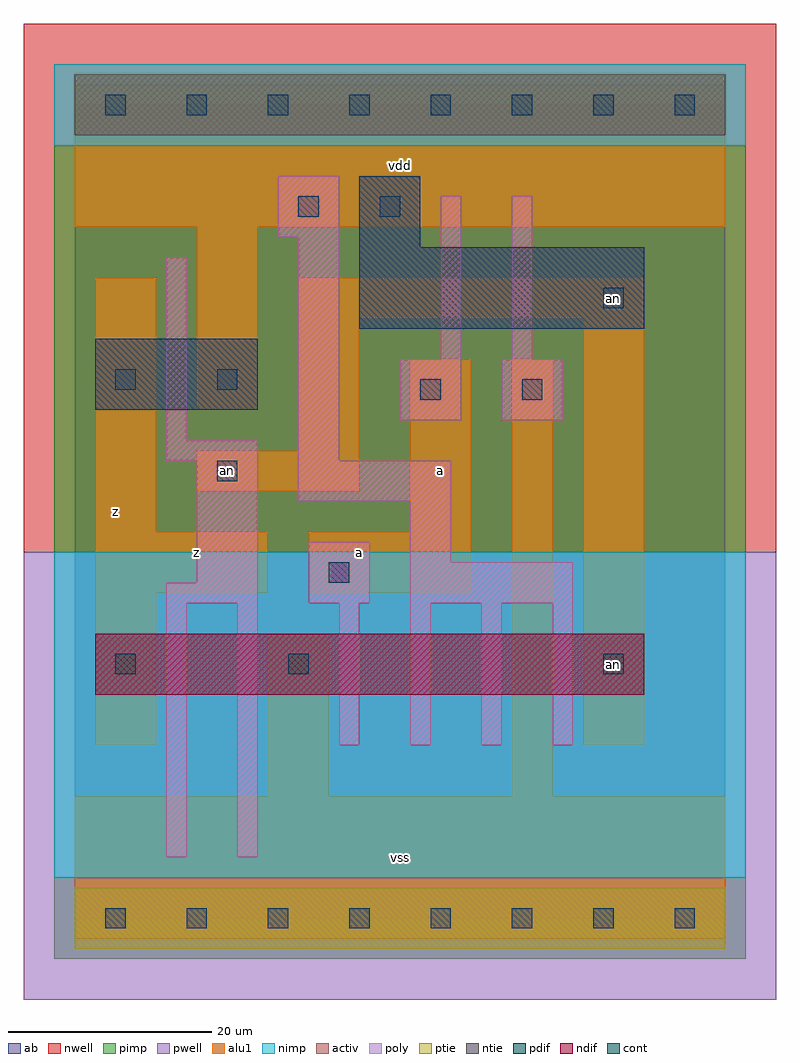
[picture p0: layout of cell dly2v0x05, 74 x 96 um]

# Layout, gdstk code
import gdstk
lib = gdstk.Library(unit=1e-6, precision=1e-09)
def R(c, l, rs):  # rectangles x0, y0, x1, y1
    for r in rs: c.add(gdstk.rectangle(r[:2], r[2:], *l))
def A(c, l, x, y, w, h, nx, ny, dx, dy):  # array of equal rectangles
    R(c, l, [(x+i*dx, y+j*dy, x+i*dx+w, y+j*dy+h) for i in range(nx) for j in range(ny)])
ndif = (3, 0)
pdif = (4, 0)
ntie = (5, 0)
ptie = (6, 0)
cont = (25, 0)
pwell = (41, 0)
nwell = (42, 0)
activ = (43, 0)
pimp = (44, 0)
nimp = (45, 0)
poly = (46, 0)
alu1 = (49, 0)
ab = (63, 0)

dly2v0x05 = lib.new_cell('dly2v0x05')
R(dly2v0x05, ndif, [(2,22,56,28)])
R(dly2v0x05, pdif, [(2,50,18,57), (28,58,56,66), (28,66,34,73)])
R(dly2v0x05, ntie, [(0,77,64,83)])
R(dly2v0x05, ptie, [(0,-3,64,3)])
A(dly2v0x05, cont, 3, -1, 2, 2, 8, 2, 8, 80)
R(dly2v0x05, cont, [(4,24,6,26), (21,24,23,26), (52,24,54,26), (25,33,27,35), (14,43,16,45), (34,51,36,53), (44,51,46,53), (4,52,6,54), (14,52,16,54), (52,60,54,62), (22,69,24,71), (30,69,32,71)])
R(dly2v0x05, pwell, [(-5,-8,69,36)])
R(dly2v0x05, nwell, [(-5,36,69,88)])
R(dly2v0x05, activ, [(0,-3,64,3), (2,22,56,28), (2,50,18,57), (28,58,56,66), (28,66,34,73), (0,77,64,83)])
R(dly2v0x05, pimp, [(-2,-4,66,4), (-2,36,66,76)])
R(dly2v0x05, nimp, [(-2,4,66,36), (-2,76,66,84)])
A(dly2v0x05, poly, 26, 17, 2, 14, 4, 1, 7, 0)
R(dly2v0x05, poly, [(9,6,11,31), (16,6,18,31), (9,31,18,33), (23,31,29,37), (33,31,49,35), (12,33,18,45), (33,35,37,41), (22,41,37,45), (9,45,18,47), (22,45,26,67), (9,47,11,65), (32,49,38,55), (42,49,48,55), (36,55,38,71), (43,55,45,71), (20,67,26,73)])
R(dly2v0x05, alu1, [(0,-2,64,12), (19,12,25,28), (43,12,47,55), (2,17,8,32), (50,17,56,59), (2,32,19,38), (23,32,39,38), (2,38,8,63), (33,38,39,55), (12,42,28,46), (22,46,28,59), (12,50,18,68), (22,59,56,63), (0,68,64,82)])
R(dly2v0x05, ab, [(0,0,64,80)])
dly2v0x05.add(gdstk.Label('an', (15,44), layer=49, texttype=0))
dly2v0x05.add(gdstk.Label('an', (53,25), layer=49, texttype=0))
dly2v0x05.add(gdstk.Label('an', (53,61), layer=49, texttype=0))
dly2v0x05.add(gdstk.Label('z', (12,36), layer=49, texttype=0))
dly2v0x05.add(gdstk.Label('z', (4,40), layer=49, texttype=0))
dly2v0x05.add(gdstk.Label('a', (28,36), layer=49, texttype=0))
dly2v0x05.add(gdstk.Label('vss', (32,6), layer=49, texttype=0))
dly2v0x05.add(gdstk.Label('a', (36,44), layer=49, texttype=0))
dly2v0x05.add(gdstk.Label('vdd', (32,74), layer=49, texttype=0))

lib.write_gds('dly2v0x05.gds')
